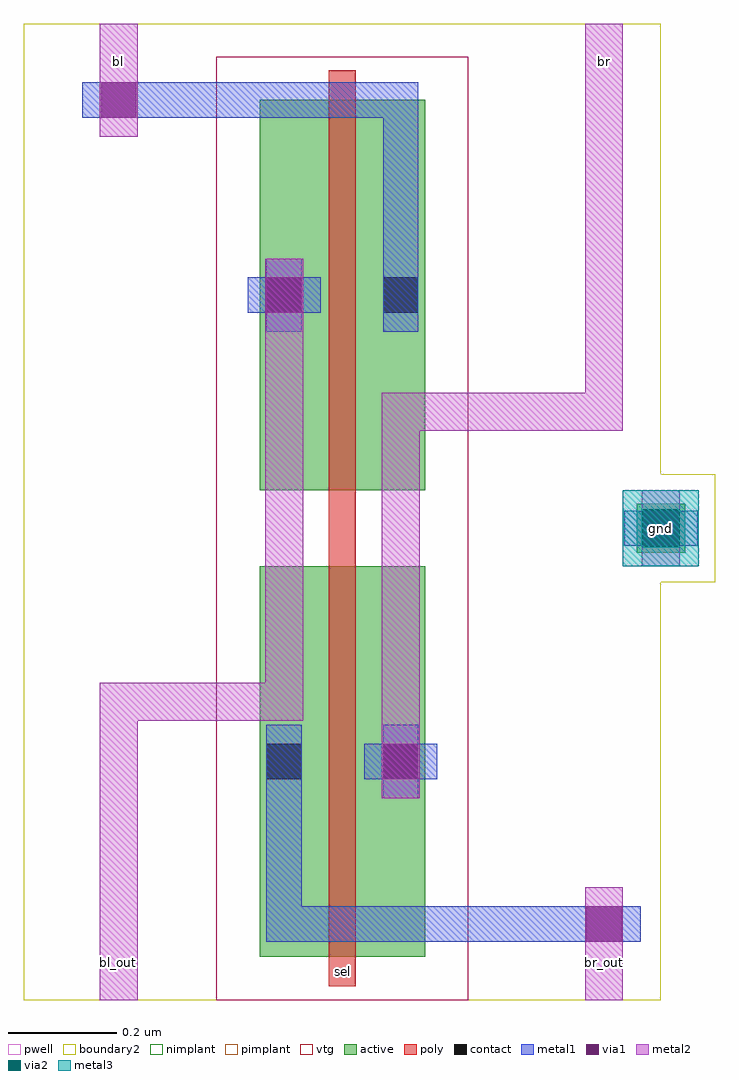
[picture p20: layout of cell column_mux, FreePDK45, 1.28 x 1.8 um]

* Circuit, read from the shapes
.subckt column_mux bl bl_out br br_out gnd sel
M1 br sel br_out gnd nfet w=0.72u l=0.05u
M2 bl sel bl_out gnd nfet w=0.72u l=0.05u
.ends

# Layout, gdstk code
import gdstk
lib = gdstk.Library(unit=1e-6, precision=5e-10)
def R(c, l, rs):  # rectangles x0, y0, x1, y1
    for r in rs: c.add(gdstk.rectangle(r[:2], r[2:], *l))
active = (1, 0)
pwell = (2, 0)
nimplant = (4, 0)
pimplant = (5, 0)
vtg = (6, 0)
poly = (9, 0)
contact = (10, 0)
metal1 = (11, 0)
via1 = (12, 0)
metal2 = (13, 0)
via2 = (14, 0)
metal3 = (15, 0)
boundary2 = (239, 0)

contact_9 = lib.new_cell('contact_9')
R(contact_9, active, [(0,0.0225,0.09,0.1125)])
R(contact_9, pwell, [(-0.055,-0.0325,0.145,0.1675)])
R(contact_9, nimplant, [(0,0.0225,0.09,0.1125)])
R(contact_9, contact, [(0.0125,0.035,0.0775,0.1)])
R(contact_9, metal1, [(0.0125,0,0.0775,0.135)])
R(contact_9, boundary2, [(-0.055,-0.0325,0.145,0.1675)])

nmos_m1_w0_720_sm1_dm1 = lib.new_cell('nmos_m1_w0_720_sm1_dm1')
R(nmos_m1_w0_720_sm1_dm1, active, [(0,0,0.305,0.72)])
R(nmos_m1_w0_720_sm1_dm1, pwell, [(-0.08,-0.08,0.385,0.8)])
R(nmos_m1_w0_720_sm1_dm1, nimplant, [(0,0,0.305,0.72)])
R(nmos_m1_w0_720_sm1_dm1, vtg, [(-0.08,-0.08,0.385,0.8)])
R(nmos_m1_w0_720_sm1_dm1, poly, [(0.1275,-0.055,0.1775,0.775), (0.1275,-0.055,0.1775,0.775)])
R(nmos_m1_w0_720_sm1_dm1, metal1, [(0.0125,0.2925,0.0775,0.4275), (0.2275,0.2925,0.2925,0.4275)])
R(nmos_m1_w0_720_sm1_dm1, boundary2, [(-0.08,-0.08,0.385,0.8)])
nmos_m1_w0_720_sm1_dm1.add(gdstk.Reference(contact_9, (0,0.2925)))
nmos_m1_w0_720_sm1_dm1.add(gdstk.Reference(contact_9, (0.215,0.2925)))
nmos_m1_w0_720_sm1_dm1.add(gdstk.Label('S', (0.045,0.36), layer=11, texttype=0))
nmos_m1_w0_720_sm1_dm1.add(gdstk.Label('D', (0.26,0.36), layer=11, texttype=0))
nmos_m1_w0_720_sm1_dm1.add(gdstk.Label('G', (0.1525,0.36), layer=9, texttype=0))

contact_6 = lib.new_cell('contact_6')
R(contact_6, metal1, [(0,0.035,0.135,0.1)])
R(contact_6, via1, [(0.035,0.035,0.1,0.1)])
R(contact_6, metal2, [(0.0325,0,0.1025,0.135)])
R(contact_6, boundary2, [(0,0,0.135,0.135)])

contact_21 = lib.new_cell('contact_21')
R(contact_21, active, [(0.0225,0,0.1125,0.09)])
R(contact_21, pwell, [(-0.0325,-0.055,0.1675,0.145)])
R(contact_21, pimplant, [(0.0225,0,0.1125,0.09)])
R(contact_21, contact, [(0.035,0.0125,0.1,0.0775)])
R(contact_21, metal1, [(0,0.0125,0.135,0.0775)])
R(contact_21, boundary2, [(-0.0325,-0.055,0.1675,0.145)])

contact_7 = lib.new_cell('contact_7')
R(contact_7, metal2, [(0.035,0,0.105,0.14)])
R(contact_7, via2, [(0.035,0.035,0.105,0.105)])
R(contact_7, metal3, [(0,0.035,0.14,0.105)])
R(contact_7, boundary2, [(0,0,0.14,0.14)])

column_mux = lib.new_cell('column_mux')
R(column_mux, pwell, [(0,0,1.175,1.8)])
R(column_mux, poly, [(0.5625,0.025,0.6125,0.08), (0.5625,0.8,0.6125,0.94)])
R(column_mux, metal1, [(0.4475,0.1075,0.5125,0.1725), (0.48,0.1075,1.07,0.1725), (0.4475,0.14,0.5125,0.44), (0.6625,1.3,0.7275,1.66), (0.14,1.6275,0.695,1.6925), (0.6625,1.6275,0.7275,1.6925)])
R(column_mux, metal2, [(0.14,0,0.21,0.14), (1.035,0,1.105,0.14), (0.14,0.14,0.21,0.55), (0.66,0.44,0.73,1.085), (0.14,0.515,0.21,0.585), (0.175,0.515,0.48,0.585), (0.445,0.515,0.515,0.585), (0.445,0.55,0.515,1.3), (0.66,1.05,0.73,1.12), (0.695,1.05,1.07,1.12), (1.035,1.05,1.105,1.12), (1.035,1.085,1.105,1.66), (0.14,1.66,0.21,1.8), (1.035,1.66,1.105,1.8)])
R(column_mux, metal3, [(1.105,0.8,1.245,0.94)])
R(column_mux, boundary2, [(0,0,1.175,1.8)])
column_mux.add(gdstk.Reference(nmos_m1_w0_720_sm1_dm1, (0.435,0.08)))
column_mux.add(gdstk.Reference(nmos_m1_w0_720_sm1_dm1, (0.435,0.94)))
column_mux.add(gdstk.Reference(contact_6, (0.1075,1.5925)))
column_mux.add(gdstk.Reference(contact_6, (1.0025,0.0725)))
column_mux.add(gdstk.Reference(contact_6, (0.4125,1.2325)))
column_mux.add(gdstk.Reference(contact_6, (0.6275,0.3725)))
column_mux.add(gdstk.Reference(contact_21, (1.1075,0.825)))
column_mux.add(gdstk.Reference(contact_6, (1.1075,0.8025)))
column_mux.add(gdstk.Reference(contact_6, (1.1075,0.8025)))
column_mux.add(gdstk.Reference(contact_7, (1.105,0.8)))
column_mux.add(gdstk.Label('bl', (0.175,1.73), layer=13, texttype=0))
column_mux.add(gdstk.Label('br', (1.07,1.73), layer=13, texttype=0))
column_mux.add(gdstk.Label('bl_out', (0.175,0.07), layer=13, texttype=0))
column_mux.add(gdstk.Label('br_out', (1.07,0.07), layer=13, texttype=0))
column_mux.add(gdstk.Label('gnd', (1.175,0.87), layer=15, texttype=0))
column_mux.add(gdstk.Label('sel', (0.5875,0.0525), layer=9, texttype=0))

lib.write_gds('column_mux.gds')
